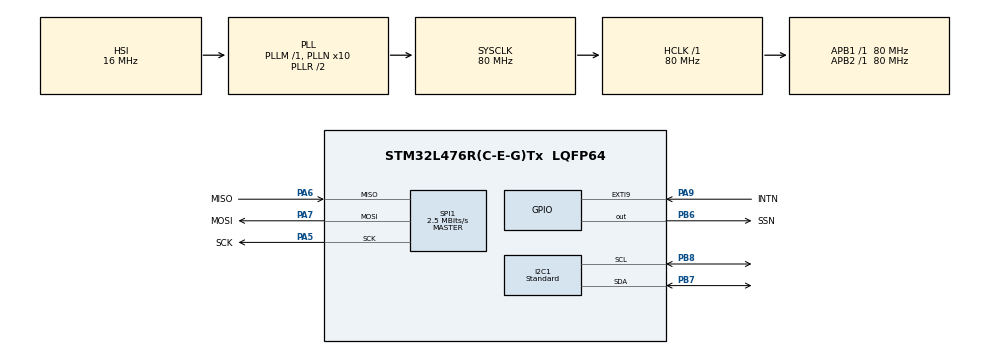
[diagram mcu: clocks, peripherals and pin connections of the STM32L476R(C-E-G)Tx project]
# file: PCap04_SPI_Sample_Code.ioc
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I2C1.CustomTiming=Disabled
I2C1.I2C_Speed_Mode=I2C_Standard
I2C1.Timing=0x10909CEC
Mcu.Family=STM32L4
Mcu.Name=STM32L476R(C-E-G)Tx
Mcu.Package=LQFP64
NVIC.EXTI9_5_IRQn=true\:0\:0\:false\:false\:true\:true\:true\:true
NVIC.PriorityGroup=NVIC_PRIORITYGROUP_4
PA13\ (JTMS-SWDIO).GPIO_Label=TMS
PA13\ (JTMS-SWDIO).Mode=Serial_Wire
PA13\ (JTMS-SWDIO).Signal=SYS_JTMS-SWDIO
PA14\ (JTCK-SWCLK).GPIO_Label=TCK
PA14\ (JTCK-SWCLK).Mode=Serial_Wire
PA14\ (JTCK-SWCLK).Signal=SYS_JTCK-SWCLK
PA5.GPIO_Label=SCK
PA5.GPIO_PuPd=GPIO_PULLDOWN
PA5.GPIO_Speed=GPIO_SPEED_FREQ_HIGH
PA5.Mode=Full_Duplex_Master
PA5.Signal=SPI1_SCK
PA6.GPIO_Label=MISO
PA6.GPIO_PuPd=GPIO_PULLDOWN
PA6.GPIO_Speed=GPIO_SPEED_FREQ_HIGH
PA6.Mode=Full_Duplex_Master
PA6.Signal=SPI1_MISO
PA7.GPIO_Label=MOSI
PA7.GPIO_PuPd=GPIO_PULLDOWN
PA7.GPIO_Speed=GPIO_SPEED_FREQ_HIGH
PA7.Mode=Full_Duplex_Master
PA7.Signal=SPI1_MOSI
PA9.GPIO_Label=INTN
PA9.GPIO_ModeDefaultEXTI=GPIO_MODE_IT_RISING_FALLING
PA9.GPIO_PuPd=GPIO_NOPULL
PA9.Signal=GPXTI9
PB3\ (JTDO-TRACESWO).GPIO_Label=SWO
PB3\ (JTDO-TRACESWO).Signal=SYS_JTDO-SWO
PB6.GPIO_FM6=__NULL
PB6.GPIO_Label=SSN
PB6.GPIO_PuPd=GPIO_PULLUP
PB6.GPIO_Speed=GPIO_SPEED_FREQ_HIGH
PB6.PinState=GPIO_PIN_SET
PB6.Signal=GPIO_Output
PB7.GPIO_FM7=__NULL
PB7.GPIO_Pu=GPIO_PULLUP
PB7.GPIO_Speed=GPIO_SPEED_FREQ_LOW
PB7.Mode=I2C
PB7.Signal=I2C1_SDA
PB8.GPIO_FM8=__NULL
PB8.GPIO_Pu=GPIO_PULLUP
PB8.GPIO_Speed=GPIO_SPEED_FREQ_LOW
PB8.Mode=I2C
PB8.Signal=I2C1_SCL
ProjectManager.HeapSize=0x200
ProjectManager.StackSize=0x400
ProjectManager.TargetToolchain=STM32CubeIDE
RCC.ADCFreq_Value=64000000
RCC.AHBFreq_Value=80000000
RCC.APB1Freq_Value=80000000
RCC.APB1TimFreq_Value=80000000
RCC.APB2Freq_Value=80000000
RCC.APB2TimFreq_Value=80000000
RCC.CortexFreq_Value=80000000
RCC.HCLKFreq_Value=80000000
RCC.HSE_VALUE=8000000
RCC.HSI_VALUE=16000000
RCC.LSE_VALUE=32768
RCC.MSI_VALUE=4000000
RCC.PLLN=10
RCC.PLLSourceVirtual=RCC_PLLSOURCE_HSI
RCC.PREFETCH_ENABLE=1
RCC.SYSCLKFreq_VALUE=80000000
RCC.SYSCLKSource=RCC_SYSCLKSOURCE_PLLCLK
RCC.USBFreq_Value=64000000
RCC.VCOOutputFreq_Value=160000000
SPI1.BaudRatePrescaler=SPI_BAUDRATEPRESCALER_32
SPI1.CLKPhase=SPI_PHASE_2EDGE
SPI1.CalculateBaudRate=2.5 MBits/s
SPI1.DataSize=SPI_DATASIZE_8BIT
SPI1.Direction=SPI_DIRECTION_2LINES
SPI1.Mode=SPI_MODE_MASTER
SPI1.TIMode=SPI_TIMODE_DISABLE
SPI1.VirtualType=VM_MASTER
board=NUCLEO-L476RG

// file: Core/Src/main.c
/* USER CODE BEGIN Header */
/**
  ******************************************************************************
  * @file           : main.c
  * @brief          : Main program body
  ******************************************************************************
  * @attention
  *
  * Copyright (c) 2023 STMicroelectronics.
  * All rights reserved.
  *
  * This software is licensed under terms that can be found in the LICENSE file
  * in the root directory of this software component.
  * If no LICENSE file comes with this software, it is provided AS-IS.
  *
  ******************************************************************************
  */
/* USER CODE END Header */
#include "main.h"

/* USER CODE BEGIN Includes */
//#define IIC_EN

#ifndef IIC_EN
#include "user_spi_interface.c"
#else
#include "user_i2c_interface.c"
#endif

//#include "user_tools.c"

/* USER CODE END Includes */

/* USER CODE BEGIN PTD */
#define WR_MEM 		0xA0
#define RD_MEM 		0x20
#define WR_CONFIG 	0xA3C0	//byte wise
#define RD_CONFIG 	0x23C0	//byte wise
#define RD_RESULT 	0x40

#define POR 		0x88
#define INIT 		0x8A
#define CDC_START 	0x8C
#define RDC_START 	0x8E
#define DSP_TRIG 	0x8D
#define NV_STORE 	0x96
#define NV_RECALL 	0x99
#define NV_ERASE 	0x9C
#define TEST_READ 	0x7E

/* USER CODE END PTD */

I2C_HandleTypeDef hi2c1;

SPI_HandleTypeDef hspi1;

/* USER CODE BEGIN PV */

#ifdef IIC_EN
HAL_StatusTypeDef ret = HAL_OK;
volatile uint16_t dev_addr = 0x50; //Device Address with R/W Bit 0-1-0-1-0-A1-A0 R/W or without (0x28)
#endif

volatile uint32_t  My_INTN_Counter = 0;
volatile uint8_t   My_INTN_State = 1;

volatile uint32_t MyRawRES0 = 0;
volatile uint32_t MyRawRES1 = 0;
volatile uint32_t MyRawRES2 = 0;
volatile float MyRatioRES0 = 0;
volatile float MyRatioRES1 = 0;
volatile float MyRatioRES2 = 0;

uint32_t My_i2c_timeout = 10;
uint8_t  My_buf[256] = {0x12,0x34};
uint32_t My_ratio = 0;

// Default Configuration <pcap04_default.cfg>, Bytewise
uint8_t  standard_cfg_bytewise[52] = {
		0x1D,0x00,0x58,0x10,   // Register 0, 1, 2, 3
		0x10,0x00,0x0F,0x20,   // Register 4, 5, 6, 7
		0x00,0xD0,0x07,0x00,   // Register 8, 9, 10, 11
		0x00,0x08,0xFF,0x03,   // Register 12, 13, 14, 15
		0x00,0x24,0x00,0x00,   // Register 16, 17, 18, 19
		0x00,0x01,0x50,0x30,   // Register 20, 21, 22, 23
		0x73,0x04,0x50,0x08,   // Register 24, 25, 26, 27
		0x5A,0x00,0x82,0x08,   // Register 28, 29, 30, 31
		0x08,0x00,0x47,0x40,   // Register 32, 33, 34, 35
		0x00,0x00,0x00,0x71,   // Register 36, 37, 38, 39
		0x00,0x00,0x08,0x00,   // Register 40, 41, 42, 43
		0x00,0x00,0x00,0x01,   // Register 44, 45, 46, 47
		0x00,0x00,0x00,0x00    // Register 48, 49, 50, 51
};

// Default Configuration <pcap04_default.cfg>, when Dword is used.
// Is not used in this example!
uint32_t standard_cfg[] = {
		0x1058001D,   // Register 3, 2, 1, 0
		0x200F0010,   // Register 7, 6, 5, 4
		0x0007D000,   // Register 11, 10, 9, 8
		0x03FF0800,   // Register 15, 14, 13, 12
		0x00002400,   // Register 19, 18, 17, 16
		0x30500100,   // Register 23, 22, 21, 20
		0x08500473,   // Register 27, 26, 25, 24
		0x0882005A,   // Register 31, 30, 29, 28
		0x40470008,   // Register 35, 34, 33, 32
		0x71000000,   // Register 39, 38, 37, 36
		0x00080000,   // Register 43, 42, 41, 40
		0x01000000,   // Register 47, 46, 45, 44
		0x00000000   // Register 51, 50, 49, 48
};

// Standard Firmware, <PCap04_standard_v1.hex>, Bytewise
// 34 Rows x 16 Bytes  +  1 Rows x 4 Bytes  = 548 Bytes
uint8_t standard_fw[548] = {
		0x24, 0x05, 0xA0, 0x01, 0x20, 0x55, 0x42, 0x5C, 0x48, 0xB1, 0x07, 0x92, 0x02, 0x20, 0x13, 0x02,
		0x20, 0x93, 0x02, 0xB2, 0x02, 0x78, 0x20, 0x54, 0xB3, 0x06, 0x91, 0x00, 0x7F, 0x20, 0x86, 0x20,
		0x54, 0xB6, 0x03, 0x72, 0x62, 0x20, 0x54, 0xB7, 0x00, 0x00, 0x42, 0x5C, 0xA1, 0x00, 0x49, 0xB0,
		0x00, 0x49, 0x40, 0xAB, 0x5D, 0x92, 0x1C, 0x90, 0x02, 0x7F, 0x20, 0x86, 0x66, 0x67, 0x76, 0x77,
		0x66, 0x7A, 0xCF, 0xCD, 0xE6, 0x43, 0xF1, 0x44, 0x29, 0xE0, 0x7A, 0xDC, 0xE7, 0x41, 0x32, 0xAA,
		0x01, 0x99, 0xFD, 0x7B, 0x01, 0x7A, 0xCF, 0xEB, 0xE6, 0x43, 0xF1, 0x44, 0x29, 0xE0, 0x7A, 0xC1,
		0xE7, 0x41, 0x32, 0x6A, 0xDE, 0x44, 0x7A, 0xCF, 0xEA, 0xE6, 0x43, 0xF1, 0x44, 0x29, 0xE0, 0x6A,
		0xDF, 0x44, 0x7A, 0xC4, 0xE7, 0x41, 0x32, 0xAB, 0x05, 0x7A, 0xC1, 0xE1, 0x43, 0xE0, 0x3A, 0x7A,
		0xC0, 0xE1, 0x43, 0xE0, 0x3A, 0x02, 0x7A, 0xCF, 0xE6, 0xE6, 0x43, 0xF1, 0x44, 0x29, 0xE0, 0x7A,
		0xEF, 0x44, 0x02, 0x20, 0x9D, 0x84, 0x01, 0x21, 0x2E, 0x21, 0x74, 0x20, 0x37, 0xC8, 0x7A, 0xE7,
		0x43, 0x49, 0x11, 0x6A, 0xD4, 0x44, 0x7A, 0xC1, 0xD8, 0xE6, 0x43, 0xE9, 0x44, 0x1C, 0x43, 0x13,
		0xAB, 0x63, 0x6A, 0xDE, 0x41, 0xAB, 0x0B, 0x46, 0x46, 0x46, 0x7A, 0xDF, 0xFF, 0xFF, 0xFF, 0xFF,
		0xE3, 0x41, 0x32, 0x1C, 0x44, 0xE9, 0x13, 0x6A, 0xD4, 0x13, 0x41, 0xAA, 0xDF, 0x7A, 0xC5, 0xE1,
		0x43, 0x49, 0xE0, 0x34, 0x7A, 0xCF, 0xE3, 0xE6, 0x43, 0xF1, 0x44, 0x29, 0xE0, 0xDB, 0xC0, 0x27,
		0xE5, 0x6A, 0xDF, 0x43, 0x7A, 0xC8, 0xE7, 0x41, 0x30, 0xAB, 0x03, 0x86, 0x01, 0x92, 0x37, 0x7A,
		0xC6, 0xE7, 0x41, 0x7A, 0xFA, 0xE7, 0x43, 0xEA, 0x44, 0x7A, 0xC1, 0xE1, 0xE6, 0x43, 0xE9, 0x44,
		0x25, 0xE0, 0x7A, 0xC6, 0xE7, 0x41, 0x7A, 0xFA, 0xE7, 0x43, 0xEA, 0x44, 0x7A, 0xC0, 0xE7, 0x43,
		0xE9, 0x44, 0x25, 0xE0, 0x92, 0x10, 0x7A, 0xE1, 0x44, 0xE2, 0x44, 0xE3, 0x44, 0xE4, 0x44, 0xE5,
		0x44, 0xE6, 0x44, 0xE7, 0x44, 0xE8, 0x44, 0xC1, 0xD8, 0x24, 0x3E, 0x92, 0xFF, 0x02, 0x7A, 0xCF,
		0xD7, 0xE6, 0x43, 0xF1, 0x44, 0x7A, 0xD0, 0xE7, 0x43, 0x2A, 0x2A, 0x32, 0xAB, 0x03, 0x42, 0x5C,
		0x92, 0x03, 0x7A, 0xC0, 0xE1, 0x43, 0xD9, 0x27, 0x90, 0x6A, 0xDF, 0x43, 0x7A, 0xC8, 0xE7, 0x41,
		0x32, 0xAB, 0x03, 0x86, 0x01, 0x92, 0x11, 0x7A, 0xC2, 0x43, 0x7A, 0xE7, 0x44, 0x6A, 0xC6, 0x44,
		0x7A, 0xC3, 0x43, 0x7A, 0xE8, 0x44, 0x6A, 0xC7, 0x44, 0xC1, 0xD4, 0x24, 0x57, 0x7A, 0xC8, 0xE1,
		0x43, 0xE0, 0x3A, 0x02, 0x7A, 0xCF, 0xE7, 0xE6, 0x43, 0xF1, 0x44, 0x29, 0xE0, 0x7A, 0xC7, 0xE1,
		0x41, 0x6A, 0xD4, 0x45, 0x5A, 0x25, 0x36, 0x46, 0x46, 0x46, 0x46, 0x7A, 0xE9, 0x44, 0x7A, 0xC0,
		0xE7, 0x43, 0x55, 0x7A, 0xEA, 0x45, 0x7A, 0xE9, 0x51, 0x1C, 0x43, 0x6A, 0xCA, 0x44, 0x1D, 0x43,
		0x6A, 0xCB, 0x44, 0x7A, 0xC1, 0xCA, 0xE6, 0x43, 0xE9, 0x44, 0x7A, 0xC1, 0xE1, 0x43, 0x7A, 0xCC,
		0xE0, 0xE6, 0x41, 0x2C, 0x42, 0x7A, 0xC5, 0xE1, 0x43, 0x49, 0xE0, 0x34, 0x7A, 0xC1, 0xCC, 0xE6,
		0x43, 0xE9, 0x44, 0x7A, 0xC1, 0xE1, 0x43, 0x2C, 0x70, 0x7A, 0xCC, 0x43, 0x7A, 0xCF, 0x44, 0x7A,
		0xCD, 0x43, 0x7A, 0xCE, 0x44, 0x6A, 0xCA, 0x43, 0xC1, 0xCA, 0x7A, 0xE6, 0x41, 0xE9, 0x45, 0x2B,
		0xAE, 0xEE, 0x44, 0x7A, 0xC1, 0xCA, 0xE6, 0x43, 0xE9, 0x44, 0x7A, 0xC1, 0xE1, 0x43, 0x7A, 0xCC,
		0xEC, 0xE6, 0x41, 0x2C, 0x42, 0x7A, 0xC5, 0xE1, 0x43, 0x49, 0xE0, 0x34, 0x7A, 0xC1, 0xCC, 0xE6,
		0x43, 0xE9, 0x44, 0x7A, 0xC1, 0xE1, 0x43, 0x2C, 0x70, 0x7A, 0xCC, 0x43, 0x7A, 0xCF, 0x44, 0x7A,
		0xCD, 0x43, 0x7A, 0xCE, 0x44, 0x6A, 0xCB, 0x43, 0xC1, 0xCA, 0x7A, 0xE6, 0x41, 0xE9, 0x45, 0x2B,
		0xAE, 0xED, 0x44, 0x02
};

/* USER CODE END PV */

void SystemClock_Config(void);
static void MX_GPIO_Init(void);
static void MX_SPI1_Init(void);
static void MX_I2C1_Init(void);

int main(void)
{

  /* MCU Configuration--------------------------------------------------------*/

  /* Reset of all peripherals, Initializes the Flash interface and the Systick. */
  HAL_Init();

  /* Configure the system clock */
  SystemClock_Config();

  /* Initialize all configured peripherals */
  MX_GPIO_Init();
  MX_SPI1_Init();
  MX_I2C1_Init();
  /* USER CODE BEGIN 2 */

  /* PIN Assignment of STM32L476:
   * SPI1_MOSI PA7
   * SPI1_MISO PA6
   * SPI1_SCK  PA5
   * SPI1_SSN  PB6
   *
   * I2C1_SCL  PB8
   * I2C1_SDA  PB7
   *
   * INTN      PA9
   */

  /* Test SPI/I2C Communication Interface by sending Test Opcode
   * Write opcode 0x7e to SIF and read 1 byte. Compare this byte to following patterns:
   * 0x11: Expected value, read cycle performed correctly
   * 0x88: Failure: there is a big/little-endian swap
   * 0xEE: Failure: during read cycle all bits are inverted
   * 0x77: Failure: inverted bits and bit/little-endian swap
   */
#ifndef IIC_EN
  My_buf[0] = Read_Byte2(TEST_READ);
#else
  ret = I2C_Write_Opcode(dev_addr, TEST_READ);
  ret = HAL_I2C_Master_Receive(&hi2c1, dev_addr, My_buf, 1, 1);
#endif

  // POR + INIT
#ifndef IIC_EN
  Write_Opcode(POR);
  HAL_Delay(500);
  Write_Opcode(INIT);
#else
  ret = I2C_Write_Opcode(dev_addr, POR);
  HAL_Delay(500);
  ret = I2C_Write_Opcode(dev_addr, INIT);
#endif
  // Delay after INIT
  HAL_Delay(10);

  // Write firmware with additional write verification of e.g. 100 bytes
#ifndef IIC_EN
  Write_Byte_Auto_Incr(WR_MEM, 0x00, standard_fw, 548);
  Read_Byte_Auto_Incr(RD_MEM, 0x00, My_buf, 100);
#else
  ret = I2C_Memory_Access(dev_addr, WR_MEM, 0x00, standard_fw, 548);
  ret = I2C_Memory_Access(dev_addr, RD_MEM, 0x00, My_buf, 100);
#endif

  // Write configuration (52 Bytes) with additional write verification
#ifndef IIC_EN
  Write_Byte_Auto_Incr(WR_CONFIG, 0x00, standard_cfg_bytewise, 52);
  Read_Byte_Auto_Incr(RD_CONFIG, 0x00, My_buf, 52);

  Write_Opcode(INIT);
#else
  ret = I2C_Config_Access(dev_addr, WR_CONFIG, 0x00, standard_cfg_bytewise, 52);
  ret = I2C_Config_Access(dev_addr, RD_CONFIG, 0x00, My_buf, 52);

  ret = I2C_Write_Opcode(dev_addr, INIT);
#endif

  // Start CDC measurement
#ifndef IIC_EN
  Write_Opcode(CDC_START);
#else
  ret = I2C_Write_Opcode(dev_addr, CDC_START);
#endif

  /* USER CODE END 2 */

  /* Infinite loop */
  while (1)
  {

    /* USER CODE BEGIN 3 */

	  // Read result register after INTN = 0
if (My_INTN_State==0) {
#ifndef IIC_EN
	  MyRawRES0 = Read_Dword_Lite(0x40, 0x00);
	  MyRawRES1 = Read_Dword_Lite(0x40, 0x04);
#else
	  MyRawRES0 = I2C_Read_Result(dev_addr, 0x40, 0x00);
	  MyRawRES1 = I2C_Read_Result(dev_addr, 0x40, 0x04);
#endif
}

	  //Post Processing
	  MyRatioRES0 = (float)MyRawRES0 / 134217728; // = 2^27
	  MyRatioRES1 = (float)MyRawRES1 / 134217728; // = 2^27

	  HAL_Delay(50); // used for debugging

  }
  /* USER CODE END 3 */
}

void SystemClock_Config(void)
{
  RCC_OscInitTypeDef RCC_OscInitStruct = {0};
  RCC_ClkInitTypeDef RCC_ClkInitStruct = {0};

  /** Configure the main internal regulator output voltage
  */
  if (HAL_PWREx_ControlVoltageScaling(PWR_REGULATOR_VOLTAGE_SCALE1) != HAL_OK)
  {
    Error_Handler();
  }

  /** Initializes the RCC Oscillators according to the specified parameters
  * in the RCC_OscInitTypeDef structure.
  */
  RCC_OscInitStruct.OscillatorType = RCC_OSCILLATORTYPE_HSI;
  RCC_OscInitStruct.HSIState = RCC_HSI_ON;
  RCC_OscInitStruct.HSICalibrationValue = RCC_HSICALIBRATION_DEFAULT;
  RCC_OscInitStruct.PLL.PLLState = RCC_PLL_ON;
  RCC_OscInitStruct.PLL.PLLSource = RCC_PLLSOURCE_HSI;
  RCC_OscInitStruct.PLL.PLLM = 1;
  RCC_OscInitStruct.PLL.PLLN = 10;
  RCC_OscInitStruct.PLL.PLLP = RCC_PLLP_DIV7;
  RCC_OscInitStruct.PLL.PLLQ = RCC_PLLQ_DIV2;
  RCC_OscInitStruct.PLL.PLLR = RCC_PLLR_DIV2;
  if (HAL_RCC_OscConfig(&RCC_OscInitStruct) != HAL_OK)
  {
    Error_Handler();
  }

  /** Initializes the CPU, AHB and APB buses clocks
  */
  RCC_ClkInitStruct.ClockType = RCC_CLOCKTYPE_HCLK|RCC_CLOCKTYPE_SYSCLK
                              |RCC_CLOCKTYPE_PCLK1|RCC_CLOCKTYPE_PCLK2;
  RCC_ClkInitStruct.SYSCLKSource = RCC_SYSCLKSOURCE_PLLCLK;
  RCC_ClkInitStruct.AHBCLKDivider = RCC_SYSCLK_DIV1;
  RCC_ClkInitStruct.APB1CLKDivider = RCC_HCLK_DIV1;
  RCC_ClkInitStruct.APB2CLKDivider = RCC_HCLK_DIV1;

  if (HAL_RCC_ClockConfig(&RCC_ClkInitStruct, FLASH_LATENCY_4) != HAL_OK)
  {
    Error_Handler();
  }
}

static void MX_I2C1_Init(void)
{

  hi2c1.Instance = I2C1;
  hi2c1.Init.Timing = 0x10909CEC;
  hi2c1.Init.OwnAddress1 = 0;
  hi2c1.Init.AddressingMode = I2C_ADDRESSINGMODE_7BIT;
  hi2c1.Init.DualAddressMode = I2C_DUALADDRESS_DISABLE;
  hi2c1.Init.OwnAddress2 = 0;
  hi2c1.Init.OwnAddress2Masks = I2C_OA2_NOMASK;
  hi2c1.Init.GeneralCallMode = I2C_GENERALCALL_DISABLE;
  hi2c1.Init.NoStretchMode = I2C_NOSTRETCH_DISABLE;
  if (HAL_I2C_Init(&hi2c1) != HAL_OK)
  {
    Error_Handler();
  }

  /** Configure Analogue filter
  */
  if (HAL_I2CEx_ConfigAnalogFilter(&hi2c1, I2C_ANALOGFILTER_ENABLE) != HAL_OK)
  {
    Error_Handler();
  }

  /** Configure Digital filter
  */
  if (HAL_I2CEx_ConfigDigitalFilter(&hi2c1, 0) != HAL_OK)
  {
    Error_Handler();
  }

}

static void MX_SPI1_Init(void)
{

  /* SPI1 parameter configuration*/
  hspi1.Instance = SPI1;
  hspi1.Init.Mode = SPI_MODE_MASTER;
  hspi1.Init.Direction = SPI_DIRECTION_2LINES;
  hspi1.Init.DataSize = SPI_DATASIZE_8BIT;
  hspi1.Init.CLKPolarity = SPI_POLARITY_LOW;
  hspi1.Init.CLKPhase = SPI_PHASE_2EDGE;
  hspi1.Init.NSS = SPI_NSS_SOFT;
  hspi1.Init.BaudRatePrescaler = SPI_BAUDRATEPRESCALER_32;
  hspi1.Init.FirstBit = SPI_FIRSTBIT_MSB;
  hspi1.Init.TIMode = SPI_TIMODE_DISABLE;
  hspi1.Init.CRCCalculation = SPI_CRCCALCULATION_DISABLE;
  hspi1.Init.CRCPolynomial = 7;
  hspi1.Init.CRCLength = SPI_CRC_LENGTH_DATASIZE;
  hspi1.Init.NSSPMode = SPI_NSS_PULSE_DISABLE;
  if (HAL_SPI_Init(&hspi1) != HAL_OK)
  {
    Error_Handler();
  }

}

static void MX_GPIO_Init(void)
{
  GPIO_InitTypeDef GPIO_InitStruct = {0};

  /* GPIO Ports Clock Enable */
  __HAL_RCC_GPIOA_CLK_ENABLE();
  __HAL_RCC_GPIOB_CLK_ENABLE();

  /*Configure GPIO pin Output Level */
  HAL_GPIO_WritePin(SSN_GPIO_Port, SSN_Pin, GPIO_PIN_SET);

  /*Configure GPIO pin : INTN_Pin */
  GPIO_InitStruct.Pin = INTN_Pin;
  GPIO_InitStruct.Mode = GPIO_MODE_IT_RISING_FALLING;
  GPIO_InitStruct.Pull = GPIO_NOPULL;
  HAL_GPIO_Init(INTN_GPIO_Port, &GPIO_InitStruct);

  /*Configure GPIO pin : SSN_Pin */
  GPIO_InitStruct.Pin = SSN_Pin;
  GPIO_InitStruct.Mode = GPIO_MODE_OUTPUT_PP;
  GPIO_InitStruct.Pull = GPIO_PULLUP;
  GPIO_InitStruct.Speed = GPIO_SPEED_FREQ_HIGH;
  HAL_GPIO_Init(SSN_GPIO_Port, &GPIO_InitStruct);

  /* EXTI interrupt init*/
  HAL_NVIC_SetPriority(EXTI9_5_IRQn, 0, 0);
  HAL_NVIC_EnableIRQ(EXTI9_5_IRQn);

}

/* USER CODE BEGIN 4 */
void HAL_GPIO_EXTI_Callback(uint16_t GPIO_Pin)
{
	/* stm32l4xx_hal_gpio.c */

	/* Prevent unused argument(s) compilation warning */
	UNUSED(GPIO_Pin);

	// Note: It takes about 1us after INTN

	if (GPIO_Pin == INTN_Pin) {
		My_INTN_State = (HAL_GPIO_ReadPin(INTN_GPIO_Port, INTN_Pin) == GPIO_PIN_SET); /* low active */
		if (My_INTN_State == 0) {
			My_INTN_Counter += 1;
		}
	}

}

/* USER CODE END 4 */

void Error_Handler(void)
{
  __disable_irq();
  while (1)
  {
  }
}
